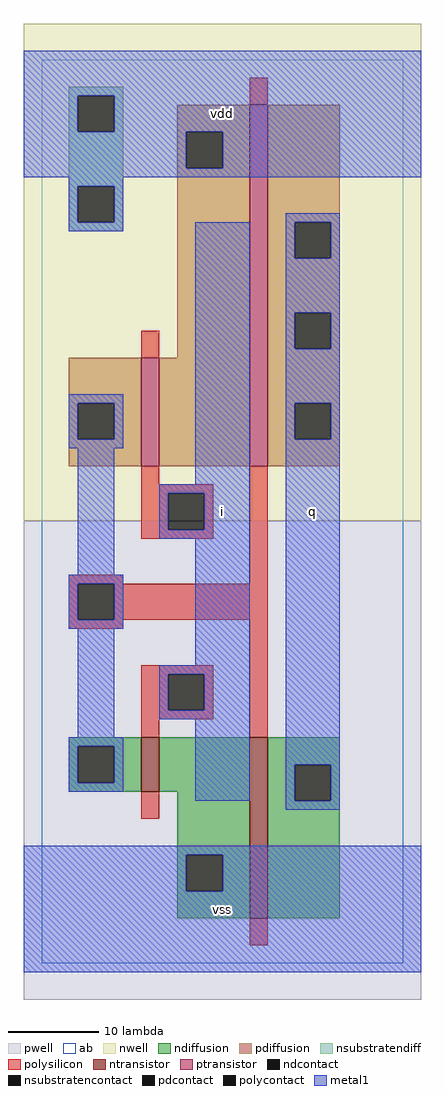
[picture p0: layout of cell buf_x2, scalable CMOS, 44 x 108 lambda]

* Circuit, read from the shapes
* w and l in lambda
.subckt buf_x2 i q vdd vss
M1 vss i n1 VSUBS nfet w=6 l=2
M2 q n1 vss VSUBS nfet w=20 l=2
M3 vdd i n1 vdd pfet w=12 l=2
M4 q n1 vdd vdd pfet w=40 l=2
.ends

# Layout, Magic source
magic
tech scmos
<< ab >>
rect 0 0 40 100
<< pwell >>
rect -2 -4 42 49
<< nwell >>
rect -2 49 42 104
<< polysilicon >>
rect 23 95 25 98
rect 11 67 13 70
rect 11 53 13 55
rect 11 52 19 53
rect 11 48 14 52
rect 18 48 19 52
rect 11 47 19 48
rect 3 42 9 43
rect 23 42 25 55
rect 3 38 4 42
rect 8 38 25 42
rect 3 37 9 38
rect 11 32 19 33
rect 11 28 14 32
rect 18 28 19 32
rect 11 27 19 28
rect 11 25 13 27
rect 23 25 25 38
rect 11 16 13 19
rect 23 2 25 5
<< ndiffusion >>
rect 3 24 11 25
rect 3 20 4 24
rect 8 20 11 24
rect 3 19 11 20
rect 13 19 23 25
rect 15 12 23 19
rect 15 8 16 12
rect 20 8 23 12
rect 15 5 23 8
rect 25 22 33 25
rect 25 18 28 22
rect 32 18 33 22
rect 25 5 33 18
<< pdiffusion >>
rect 15 92 23 95
rect 15 88 16 92
rect 20 88 23 92
rect 15 67 23 88
rect 3 62 11 67
rect 3 58 4 62
rect 8 58 11 62
rect 3 55 11 58
rect 13 55 23 67
rect 25 82 33 95
rect 25 78 28 82
rect 32 78 33 82
rect 25 72 33 78
rect 25 68 28 72
rect 32 68 33 72
rect 25 62 33 68
rect 25 58 28 62
rect 32 58 33 62
rect 25 55 33 58
<< metal1 >>
rect -2 96 42 101
rect -2 92 4 96
rect 8 92 42 96
rect -2 88 16 92
rect 20 88 42 92
rect -2 87 42 88
rect 3 86 9 87
rect 3 82 4 86
rect 8 82 9 86
rect 27 82 33 83
rect 3 81 9 82
rect 3 62 9 63
rect 3 58 4 62
rect 8 58 9 62
rect 3 57 9 58
rect 4 43 8 57
rect 17 53 23 82
rect 13 52 23 53
rect 13 48 14 52
rect 18 48 23 52
rect 13 47 23 48
rect 3 42 9 43
rect 3 38 4 42
rect 8 38 9 42
rect 3 37 9 38
rect 4 25 8 37
rect 17 33 23 47
rect 13 32 23 33
rect 13 28 14 32
rect 18 28 23 32
rect 13 27 23 28
rect 3 24 9 25
rect 3 20 4 24
rect 8 20 9 24
rect 3 19 9 20
rect 17 18 23 27
rect 27 78 28 82
rect 32 78 33 82
rect 27 72 33 78
rect 27 68 28 72
rect 32 68 33 72
rect 27 62 33 68
rect 27 58 28 62
rect 32 58 33 62
rect 27 22 33 58
rect 27 18 28 22
rect 32 18 33 22
rect 27 17 33 18
rect -2 12 42 13
rect -2 8 16 12
rect 20 8 42 12
rect -2 -1 42 8
<< ntransistor >>
rect 11 19 13 25
rect 23 5 25 25
<< ptransistor >>
rect 11 55 13 67
rect 23 55 25 95
<< polycontact >>
rect 14 48 18 52
rect 4 38 8 42
rect 14 28 18 32
<< ndcontact >>
rect 4 20 8 24
rect 16 8 20 12
rect 28 18 32 22
<< pdcontact >>
rect 16 88 20 92
rect 4 58 8 62
rect 28 78 32 82
rect 28 68 32 72
rect 28 58 32 62
<< nsubstratencontact >>
rect 4 92 8 96
rect 4 82 8 86
<< nsubstratendiff >>
rect 3 96 9 97
rect 3 92 4 96
rect 8 92 9 96
rect 3 86 9 92
rect 3 82 4 86
rect 8 82 9 86
rect 3 81 9 82
<< labels >>
rlabel metal1 20 6 20 6 6 vss
rlabel metal1 20 6 20 6 6 vss
rlabel metal1 30 50 30 50 6 q
rlabel metal1 30 50 30 50 6 q
rlabel metal1 20 50 20 50 6 i
rlabel metal1 20 50 20 50 6 i
rlabel metal1 20 94 20 94 6 vdd
rlabel metal1 20 94 20 94 6 vdd
<< end >>
